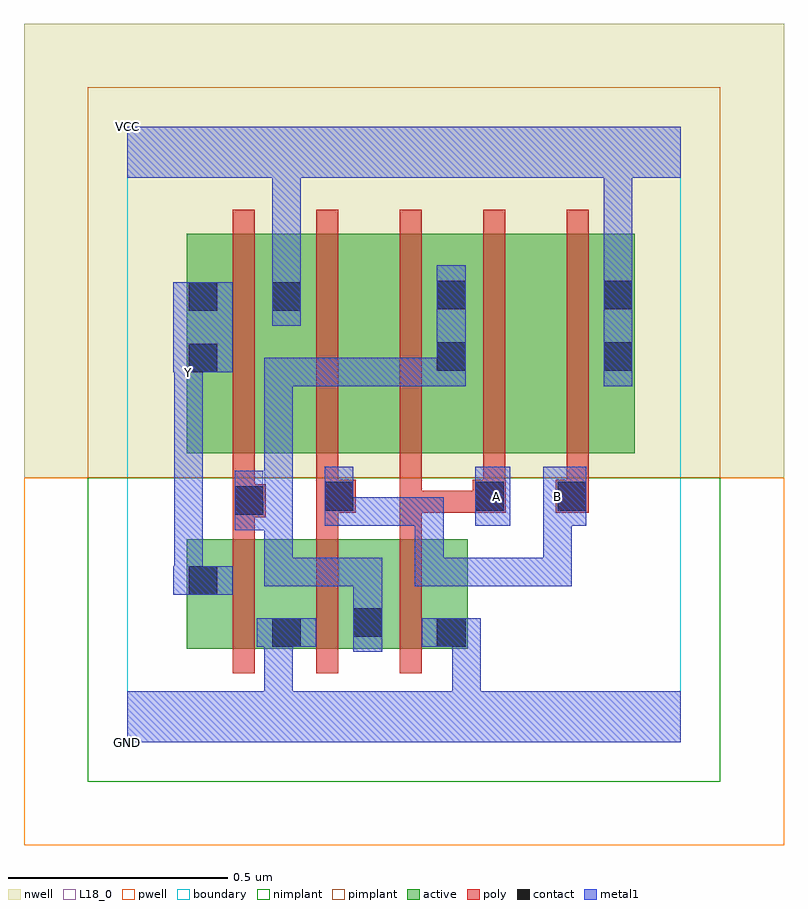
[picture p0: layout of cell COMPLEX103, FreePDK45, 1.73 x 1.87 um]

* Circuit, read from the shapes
.subckt COMPLEX103 A B GND VCC Y
M1 GND n1 Y VSUBS nfet w=0.25u l=0.05u
M2 n1 B GND VSUBS nfet w=0.25u l=0.05u
M3 GND A n1 VSUBS nfet w=0.25u l=0.05u
M4 VCC n1 Y n2 pfet w=0.5u l=0.05u
M5 n3 B VCC n2 pfet w=0.5u l=0.05u
M6 n1 A n3 n2 pfet w=0.5u l=0.05u
M7 n4 A n1 n2 pfet w=0.5u l=0.05u
M8 VCC B n4 n2 pfet w=0.5u l=0.05u
.ends

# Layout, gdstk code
import gdstk
lib = gdstk.Library(unit=1e-6, precision=1e-09)
def R(c, l, rs):  # rectangles x0, y0, x1, y1
    for r in rs: c.add(gdstk.rectangle(r[:2], r[2:], *l))
def A(c, l, x, y, w, h, nx, ny, dx, dy):  # array of equal rectangles
    R(c, l, [(x+i*dx, y+j*dy, x+i*dx+w, y+j*dy+h) for i in range(nx) for j in range(ny)])
active = (1, 0)
pwell = (2, 0)
nwell = (3, 0)
nimplant = (4, 0)
pimplant = (5, 0)
poly = (9, 0)
contact = (10, 0)
metal1 = (11, 0)
L18_0 = (18, 0)
boundary = (235, 0)

complex103 = lib.new_cell('COMPLEX103')
R(complex103, active, [(0.135,0.212,0.21,0.462), (0.135,0.212,0.4,0.462), (0.325,0.212,0.4,0.342), (0.325,0.212,0.585,0.462), (0.51,0.212,0.775,0.462), (0.51,0.212,0.585,0.342), (0.7,0.212,0.775,0.462), (0.135,0.657,0.21,1.157), (0.135,0.657,0.4,1.157), (0.325,0.657,0.55,1.157), (0.55,0.657,0.775,1.157), (0.7,0.657,0.93,1.157), (0.93,0.657,1.155,1.157), (1.08,0.657,1.155,1.157), (0.325,0.807,0.4,1.157), (0.7,0.807,0.775,1.157)])
R(complex103, pwell, [(-0.235,-0.235,1.495,0.602)])
R(complex103, nwell, [(-0.235,0.602,1.495,1.635)])
R(complex103, nimplant, [(-0.09,-0.09,1.35,0.602)])
R(complex103, pimplant, [(-0.09,0.602,1.35,1.49)])
A(complex103, poly, 0.24, 0.602, 0.05, 0.61, 5, 1, 0.19, 0)
R(complex103, poly, [(0.24,0.157,0.29,0.517), (0.43,0.157,0.48,0.517), (0.62,0.157,0.67,0.562), (0.24,0.467,0.29,0.562), (0.43,0.467,0.48,0.572), (0.24,0.512,0.315,0.587), (0.62,0.512,0.67,0.562), (0.62,0.512,0.67,0.572), (0.43,0.522,0.52,0.597), (0.62,0.522,0.837,0.572), (0.62,0.522,0.67,0.652), (0.787,0.522,0.862,0.597), (0.787,0.522,0.837,0.572), (0.787,0.522,0.837,0.572), (0.975,0.522,1.05,0.597), (0.24,0.537,0.29,0.652), (0.43,0.547,0.48,0.652), (0.81,0.547,0.86,0.652), (1,0.547,1.05,0.652)])
R(complex103, contact, [(0.33,0.217,0.395,0.282), (0.705,0.217,0.77,0.282), (0.515,0.24,0.58,0.305), (0.14,0.335,0.205,0.4), (0.245,0.517,0.31,0.582), (0.45,0.527,0.515,0.592), (0.792,0.527,0.857,0.592), (0.98,0.527,1.045,0.592), (0.14,0.842,0.205,0.907), (0.705,0.845,0.77,0.91), (1.085,0.845,1.15,0.91), (0.14,0.982,0.205,1.047), (0.33,0.982,0.395,1.047), (0.705,0.985,0.77,1.05), (1.085,0.985,1.15,1.05)])
R(complex103, metal1, [(0,0,1.26,0.115), (0.312,0.05,0.377,0.282), (0.74,0.05,0.805,0.282), (0.515,0.205,0.58,0.34), (0.295,0.217,0.43,0.282), (0.312,0.217,0.377,0.282), (0.312,0.217,0.377,0.282), (0.312,0.217,0.377,0.282), (0.312,0.217,0.377,0.282), (0.67,0.217,0.805,0.282), (0.74,0.217,0.805,0.282), (0.74,0.217,0.805,0.282), (0.74,0.217,0.805,0.282), (0.74,0.217,0.805,0.282), (0.515,0.275,0.58,0.34), (0.515,0.275,0.58,0.42), (0.105,0.335,0.24,0.4), (0.107,0.335,0.172,0.837), (0.312,0.355,0.377,0.42), (0.312,0.355,0.58,0.42), (0.312,0.355,0.377,0.547), (0.655,0.355,0.72,0.42), (0.655,0.355,0.72,0.557), (0.655,0.355,0.857,0.42), (0.792,0.355,0.857,0.42), (0.792,0.355,1.012,0.42), (0.947,0.355,1.012,0.42), (0.947,0.355,1.012,0.557), (0.245,0.482,0.31,0.617), (0.245,0.482,0.377,0.547), (0.312,0.482,0.377,0.547), (0.312,0.482,0.377,0.875), (0.45,0.492,0.515,0.557), (0.45,0.492,0.515,0.557), (0.45,0.492,0.72,0.557), (0.45,0.492,0.515,0.627), (0.655,0.492,0.72,0.557), (0.655,0.492,0.72,0.557), (0.655,0.492,0.72,0.557), (0.792,0.492,0.872,0.627), (0.947,0.492,1.012,0.557), (0.947,0.492,1.012,0.557), (0.947,0.492,1.045,0.627), (0.107,0.772,0.172,0.907), (0.312,0.81,0.377,0.875), (0.312,0.81,0.58,0.875), (0.515,0.81,0.58,0.875), (0.515,0.81,0.58,0.875), (0.515,0.81,0.58,0.875), (0.515,0.81,0.717,0.875), (0.652,0.81,0.717,0.875), (0.652,0.81,0.77,0.875), (0.705,0.81,0.77,1.085), (1.085,0.81,1.15,1.085), (0.105,0.842,0.24,1.047), (0.107,0.842,0.172,0.907), (0.33,0.947,0.395,1.082), (0.33,1.017,0.395,1.35), (1.085,1.02,1.15,1.35), (0,1.285,1.26,1.4), (0.33,1.285,0.395,1.35), (0.33,1.285,0.395,1.35), (1.085,1.285,1.15,1.35), (1.085,1.285,1.15,1.35)])
R(complex103, L18_0, [(0,0,1.26,0.115), (0.312,0.05,0.377,0.282), (0.74,0.05,0.805,0.282), (0.295,0.217,0.43,0.282), (0.312,0.217,0.377,0.282), (0.312,0.217,0.377,0.282), (0.312,0.217,0.377,0.282), (0.312,0.217,0.377,0.282), (0.67,0.217,0.805,0.282), (0.74,0.217,0.805,0.282), (0.74,0.217,0.805,0.282), (0.74,0.217,0.805,0.282), (0.74,0.217,0.805,0.282), (0.105,0.335,0.24,0.4), (0.107,0.335,0.172,0.837), (0.655,0.355,0.72,0.42), (0.655,0.355,0.72,0.557), (0.655,0.355,0.857,0.42), (0.792,0.355,0.857,0.42), (0.792,0.355,1.012,0.42), (0.947,0.355,1.012,0.42), (0.947,0.355,1.012,0.557), (0.45,0.492,0.515,0.627), (0.45,0.492,0.515,0.557), (0.45,0.492,0.515,0.557), (0.45,0.492,0.72,0.557), (0.655,0.492,0.72,0.557), (0.655,0.492,0.72,0.557), (0.655,0.492,0.72,0.557), (0.792,0.492,0.872,0.627), (0.947,0.492,1.012,0.557), (0.947,0.492,1.012,0.557), (0.947,0.492,1.045,0.627), (0.807,0.527,0.872,0.592), (0.947,0.527,1.012,0.592), (0.107,0.772,0.172,0.907), (0.107,0.807,0.172,0.872), (1.085,0.81,1.15,1.085), (0.105,0.842,0.24,1.047), (0.107,0.842,0.172,0.907), (0.33,0.947,0.395,1.082), (0.33,1.017,0.395,1.35), (1.085,1.02,1.15,1.35), (0,1.285,1.26,1.4), (0.33,1.285,0.395,1.35), (0.33,1.285,0.395,1.35), (1.085,1.285,1.15,1.35), (1.085,1.285,1.15,1.35)])
R(complex103, boundary, [(0,0,1.26,1.4)])
complex103.add(gdstk.Label('A', (0.84,0.56), layer=11, texttype=0))
complex103.add(gdstk.Label('B', (0.98,0.56), layer=11, texttype=0))
complex103.add(gdstk.Label('Y', (0.14,0.84), layer=11, texttype=0))
complex103.add(gdstk.Label('VCC', (0,1.4), layer=11, texttype=0))
complex103.add(gdstk.Label('GND', (0,0), layer=11, texttype=0))

lib.write_gds('COMPLEX103.gds')
